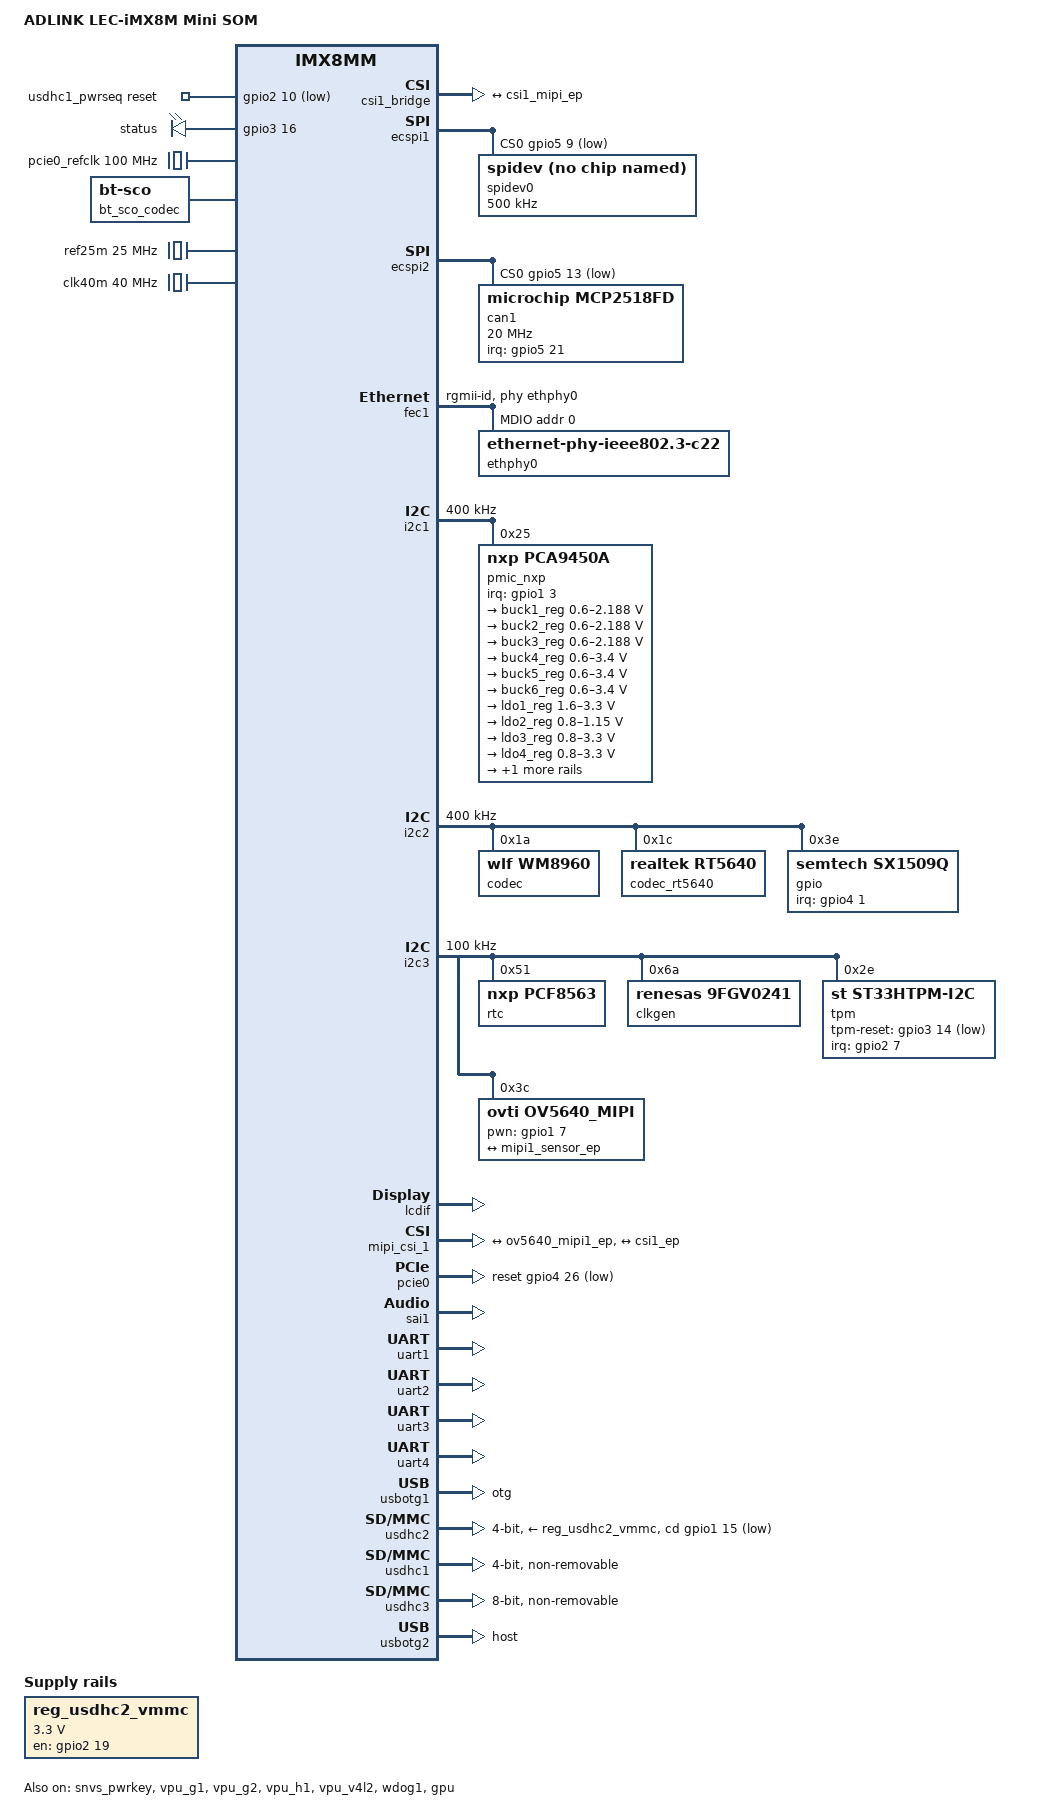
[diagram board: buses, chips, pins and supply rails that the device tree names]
// SPDX-License-Identifier: (GPL-2.0+ OR MIT)
/*
 * Copyright 2019-2020 NXP
 */

/dts-v1/;

#include <dt-bindings/usb/pd.h>
#include "../freescale/imx8mm.dtsi"

/ {
	model = "ADLINK LEC-iMX8M Mini SOM";
	compatible = "fsl,imx8mm-evk", "fsl,imx8mm","adlink,lec-imx8mm";

	usdhc1_pwrseq: usdhc1_pwrseq {
		compatible = "mmc-pwrseq-simple";
		pinctrl-names = "default";
		pinctrl-0 = <&pinctrl_usdhc1_gpio>;
		reset-gpios = <&gpio2 10 GPIO_ACTIVE_LOW>;
	};

	chosen {
		stdout-path = &uart2;
	};

	leds {
		compatible = "gpio-leds";
		pinctrl-names = "default";
		pinctrl-0 = <&pinctrl_gpio_led>;

		status {
			label = "status";
			gpios = <&gpio3 16 GPIO_ACTIVE_HIGH>;
			default-state = "on";
		};
	};

	pcie0_refclk: pcie0-refclk {
		compatible = "fixed-clock";
		#clock-cells = <0>;
		clock-frequency = <100000000>;
	};

	reg_usdhc2_vmmc: regulator-usdhc2 {
		compatible = "regulator-fixed";
		pinctrl-names = "default";
		pinctrl-0 = <&pinctrl_reg_usdhc2_vmmc>;
		regulator-name = "VSD_3V3";
		regulator-min-microvolt = <3300000>;
		regulator-max-microvolt = <3300000>;
		gpio = <&gpio2 19 GPIO_ACTIVE_HIGH>;
		off-on-delay-us = <20000>;
		enable-active-high;
	};

	bt_sco_codec: bt_sco_codec {
		#sound-dai-cells = <1>;
		compatible = "linux,bt-sco";
	};

	sound-bt-sco {
		compatible = "simple-audio-card";
		simple-audio-card,name = "bt-sco-audio";
		simple-audio-card,format = "dsp_a";
		simple-audio-card,bitclock-inversion;
		simple-audio-card,frame-master = <&btcpu>;
		simple-audio-card,bitclock-master = <&btcpu>;

		btcpu: simple-audio-card,cpu {
			sound-dai = <&sai2>;
			dai-tdm-slot-num = <2>;
			dai-tdm-slot-width = <16>;
		};

		simple-audio-card,codec {
			sound-dai = <&bt_sco_codec 1>;
		};
	};

        sound-wm8960 {
            compatible = "fsl,imx7d-evk-wm8960", "fsl,imx-audio-wm8960";
            model = "wm8960-audio";
            cpu-dai = <&sai1>;
            audio-codec = <&codec>;
            //asrc-controller = <&easrc>;
            codec-master;
            /*
             * hp-det = <hp-det-pin hp-det-polarity>;
             * hp-det-pin: JD1 JD2 or JD3
             * hp-det-polarity = 0: hp detect high for headphone
             * hp-det-polarity = 1: hp detect high for speaker
             */
            hp-det = <2 1>;
            audio-routing =
                    "Headphone Jack", "HP_L",
                    "Headphone Jack", "HP_R",
                    "LINPUT1", "Mic Jack",
                    "Mic Jack", "MICB",
                    "Playback", "CPU-Playback",
                    "CPU-Capture", "Capture";
        };
        
         sound-rt5640 {
            compatible = "fsl,imx-audio-rt5640";
            model = "rt5640c";
            cpu-dai = <&sai1>;
            audio-codec = <&codec_rt5640>;
            audio-routing =
		    "Mic Jack", "MICBIAS1",
		    "IN1P", "Mic Jack",
		    "Headphone Jack", "HPOL",
		    "Headphone Jack", "HPOR";
        };       

	/* 25MHz reference crystal */
	ref25m: ref25xtal {
		compatible = "fixed-clock";
		#clock-cells = <0>;
		clock-frequency = <25000000>;
	};

	/* fixed clock dedicated to SPI CAN controller */
	clk40m: oscillator {
		compatible = "fixed-clock";
		#clock-cells = <0>;
		clock-frequency = <40000000>;
	};
};

&A53_0 {
	cpu-supply = <&buck2_reg>;
};

&A53_1 {
	cpu-supply = <&buck2_reg>;
};

&A53_2 {
	cpu-supply = <&buck2_reg>;
};

&A53_3 {
	cpu-supply = <&buck2_reg>;
};

&csi1_bridge {
	fsl,mipi-mode;
	status = "okay";
	port {
		csi1_ep: endpoint {
			remote-endpoint = <&csi1_mipi_ep>;
		};
	};
};

&ecspi1 {
	#address-cells = <1>;
	#size-cells = <0>;
	fsl,spi-num-chipselects = <1>;
	pinctrl-names = "default";
	pinctrl-0 = <&pinctrl_ecspi1 &pinctrl_ecspi1_cs>;
	cs-gpios = <&gpio5 9 GPIO_ACTIVE_LOW>;
	status = "okay";
	
	spidev0: spi@0 {
	    reg = <0>;
	    compatible = "rohm,dh2228fv";
	    spi-max-frequency = <500000>;
	};
};

&ecspi2 {
	#address-cells = <1>;
	#size-cells = <0>;
	fsl,spi-num-chipselects = <1>;
	pinctrl-names = "default";
	pinctrl-0 = <&pinctrl_ecspi2 &pinctrl_ecspi2_cs>;
	cs-gpios = <&gpio5 13 GPIO_ACTIVE_LOW>;
	status = "okay";

	can1: mcp2518fd@0 {
	    compatible = "microchip,mcp2518fd";
	    reg = <0>;
	    clocks = <&clk40m>;
	    pinctrl-names = "default";
	    pinctrl-0 = <&pinctrl_can1_int>;
            spi-max-frequency = <20000000>;
            interrupts-extended = <&gpio5 21 IRQ_TYPE_LEVEL_LOW>;
            vdd-supply = <3300000>;
            xceiver-supply = <3300000>;
	};
};

&fec1 {
	pinctrl-names = "default";
	pinctrl-0 = <&pinctrl_fec1>;
	phy-mode = "rgmii-id";
	phy-handle = <&ethphy0>;
	fsl,magic-packet;
	status = "okay";

	mdio {
		#address-cells = <1>;
		#size-cells = <0>;

		ethphy0: ethernet-phy@0 {
			compatible = "ethernet-phy-ieee802.3-c22";
			reg = <0>;
			//at803x,eee-disabled;
			//at803x,vddio-1p8v;
			/* ethernet phy register value <offset,value> */
			/* can modify it by customize carrier board */
			reg-values = 
				<0x0168 0x8040>,
				<0x488A 0x8030>,
				<0x4009 0x8031>,
				<0x240A 0x8032>,
				<0x002B 0x8034>,
				<0x002B 0x8037>,
				<0x002B 0x803A>,
				<0x002B 0x803D>,
				<0x0006 0x8021>;
		};
	};
};

&i2c1 {
	clock-frequency = <400000>;
	pinctrl-names = "default";
	pinctrl-0 = <&pinctrl_i2c1>;
	status = "okay";

	pmic_nxp: pca9450@25 {
		compatible = "nxp,pca9450a";
		reg = <0x25>;
		pinctrl-0 = <&pinctrl_pmic>;
		pinctrl-names = "default";
		interrupt-parent = <&gpio1>;
		interrupts = <3 IRQ_TYPE_LEVEL_LOW>;

		regulators {
			buck1_reg: BUCK1 {
				regulator-name = "BUCK1";
				regulator-min-microvolt = <600000>;
				regulator-max-microvolt = <2187500>;
				regulator-boot-on;
				regulator-always-on;
				regulator-ramp-delay = <3125>;
				nxp,dvs-run-voltage = <850000>;
				nxp,dvs-standby-voltage = <800000>;
			};

			buck2_reg: BUCK2 {
				regulator-name = "BUCK2";
				regulator-min-microvolt = <600000>;
				regulator-max-microvolt = <2187500>;
				regulator-boot-on;
				regulator-always-on;
				regulator-ramp-delay = <3125>;
			};

			buck3_reg: BUCK3 {
				regulator-name = "BUCK3";
				regulator-min-microvolt = <600000>;
				regulator-max-microvolt = <2187500>;
				regulator-boot-on;
				regulator-always-on;
			};

			buck4_reg: BUCK4 {
				regulator-name = "BUCK4";
				regulator-min-microvolt = <600000>;
				regulator-max-microvolt = <3400000>;
				regulator-boot-on;
				regulator-always-on;
			};

			buck5_reg: BUCK5 {
				regulator-name = "BUCK5";
				regulator-min-microvolt = <600000>;
				regulator-max-microvolt = <3400000>;
				regulator-boot-on;
				regulator-always-on;
			};

			buck6_reg: BUCK6 {
				regulator-name = "BUCK6";
				regulator-min-microvolt = <600000>;
				regulator-max-microvolt = <3400000>;
				regulator-boot-on;
				regulator-always-on;
			};

			ldo1_reg: LDO1 {
				regulator-name = "LDO1";
				regulator-min-microvolt = <1600000>;
				regulator-max-microvolt = <3300000>;
				regulator-boot-on;
				regulator-always-on;
			};

			ldo2_reg: LDO2 {
				regulator-name = "LDO2";
				regulator-min-microvolt = <800000>;
				regulator-max-microvolt = <1150000>;
				regulator-boot-on;
				regulator-always-on;
			};

			ldo3_reg: LDO3 {
				regulator-name = "LDO3";
				regulator-min-microvolt = <800000>;
				regulator-max-microvolt = <3300000>;
				regulator-boot-on;
				regulator-always-on;
			};

			ldo4_reg: LDO4 {
				regulator-name = "LDO4";
				regulator-min-microvolt = <800000>;
				regulator-max-microvolt = <3300000>;
				regulator-boot-on;
				regulator-always-on;
			};

			ldo5_reg: LDO5 {
				regulator-name = "LDO5";
				regulator-min-microvolt = <1800000>;
				regulator-max-microvolt = <3300000>;
			};
		};
	};
};

&i2c2 {
	clock-frequency = <400000>;
	pinctrl-names = "default";
	pinctrl-0 = <&pinctrl_i2c2>;
	status = "okay";
		
    codec: wm8960@1a {
        compatible = "wlf,wm8960";
        reg = <0x1a>;
        clocks = <&clk IMX8MM_CLK_SAI1_ROOT>;
        clock-names = "mclk";
        wlf,shared-lrclk;
    status = "okay";
    };
    
 	codec_rt5640: rt5640@1c {
		#sound-dai-cells = <0>;
		compatible = "realtek,rt5640";
		reg = <0x1c>;
		clocks = <&clk IMX8MM_CLK_SAI1_ROOT>;
		clock-names = "mclk";
		status = "okay";
	};   
	
	/* SX1509(2) U1001@IPi SMARC Plus */
	gpio: i2c2_gpioext0@3e {
		/* GPIO Expander 2 Mapping :
		 * - 0: E_GPIO1_0	<=>					IPi SMARC Plus CN101_PIN29: E_GPIO1_0
		 * - 1: E_GPIO1_1	<=>					IPi SMARC Plus CN101_PIN31: E_GPIO1_1
		 * - 2: E_GPIO1_2	<=>					IPi SMARC Plus CN101_PIN32: E_GPIO1_2
		 * - 3: E_GPIO1_3	<=>					IPi SMARC Plus CN101_PIN33: E_GPIO1_3
		 * - 4: E_GPIO1_4	<=>					IPi SMARC Plus CN101_PIN35: E_GPIO1_4
		 * - 5: E_GPIO1_5	<=>					IPi SMARC Plus CN101_PIN36: E_GPIO1_5
		 * - 6: E_GPIO1_6	<=>					IPi SMARC Plus CN101_PIN37: E_GPIO1_6
		 * - 7: E_GPIO1_7	<=>					IPi SMARC Plus CN101_PIN38: E_GPIO1_7
		 * - 8: E_GPIO2_8	<=>					IPi SMARC Plus CN101_PIN40: E_GPIO2_8
		 * - 9: TP1002		<=>					IPi SMARC Plus TP1002 (won't use)
		 * - 10: TP1003		<=>					IPi SMARC Plus TP1003 (won't use)
		 * - 11: TP1004		<=>					IPi SMARC Plus TP1004 (won't use)
		 * - 12: TP1005		<=>					IPi SMARC Plus TP1005 (won't use)
		 * - 13: TP1006		<=>					IPi SMARC Plus TP1006 (won't use)
		 * - 14: TP1007		<=>					IPi SMARC Plus TP1007 (won't use)
		 * - 15: TP1008		<=>					IPi SMARC Plus TP1008 (won't use)
		 * - 16: OSCIO		<=>					IPi SMARC Plus TP1001 (won't use)
		 */
		#gpio-cells = <2>;
		#interrupt-cells = <2>;
		compatible = "semtech,sx1509q";
        pinctrl-names = "default";
        pinctrl-0 = <&pinctrl_gpio_exp>;
		reg = <0x3e>;

		semtech,probe-reset;
		gpio-controller;
		interrupt-controller;

		interrupt-parent = <&gpio4>;
		interrupts = <1 IRQ_TYPE_EDGE_FALLING>;
	};
};

&i2c3 {
	clock-frequency = <100000>;
	pinctrl-names = "default";
	pinctrl-0 = <&pinctrl_i2c3>;
	status = "okay";

	/* RTC: PCF8563BS */
	rtc: pcf8563bs@51 {
		reg = <0x51>;
		compatible = "nxp,pcf8563";
	};

	/* PCIe ClockGen: 9FGV0241AKILF_RENESAS */
	clkgen: 9fgv0241@6a {
		reg = <0x6a>;
		compatible = "renesas,9fgv0241";

		#clock-cells = <1>;
		clocks = <&ref25m>;

		DIF0 {
			renesas,slew-rate = <3000000>;
		};
	};


    /* TPM: ST33HTPH2X32AHD5 */
    tpm: st33htph77@2e {
        reg = <0x2e>;
        compatible = "st,st33htpm-i2c";
        pinctrl-names = "default";
        pinctrl-0 = <&pinctrl_tpm>;
        /* MX8MM_IOMUXC_SD1_DATA5_GPIO2_IO7 (TPM_INT_N) */
        interrupt-parent = <&gpio2>;
        interrupts = <7 IRQ_TYPE_EDGE_FALLING>;
        /* MX8MM_IOMUXC_NAND_DQS_GPIO3_IO14 (TPM_RST#) */
        tpm-reset = <&gpio3 14 GPIO_ACTIVE_LOW>;
        reset-assert-us = <10000>;
    };

	ov5640_mipi: ov5640_mipi@3c {
		compatible = "ovti,ov5640_mipi";
		reg = <0x3c>;
		status = "okay";
		pinctrl-names = "default";
		pinctrl-0 = <&pinctrl_csi_pwn>, <&pinctrl_csi_rst>;
		clocks = <&clk IMX8MM_CLK_CLKO1>;
		clock-names = "csi_mclk";
		assigned-clocks = <&clk IMX8MM_CLK_CLKO1>;
		assigned-clock-parents = <&clk IMX8MM_CLK_24M>;
		assigned-clock-rates = <24000000>;
		csi_id = <0>;
		pwn-gpios = <&gpio1 7 GPIO_ACTIVE_HIGH>;
		mclk = <24000000>;
		mclk_source = <0>;
		port {
			ov5640_mipi1_ep: endpoint {
				remote-endpoint = <&mipi1_sensor_ep>;
			};
		};
	};
};

&lcdif {
       status = "okay";
};

&mipi_csi_1 {
	#address-cells = <1>;
	#size-cells = <0>;
	status = "okay";
	port {
		mipi1_sensor_ep: endpoint@1 {
			remote-endpoint = <&ov5640_mipi1_ep>;
			data-lanes = <2>;
			csis-hs-settle = <13>;
			csis-clk-settle = <2>;
			csis-wclk;
		};

		csi1_mipi_ep: endpoint@2 {
			remote-endpoint = <&csi1_ep>;
		};
	};
};


&pcie0{
	pinctrl-names = "default";
	pinctrl-0 = <&pinctrl_pcie0>;
	disable-gpio = <&gpio1 5 GPIO_ACTIVE_LOW>;
    /* MX8MM_IOMUXC_SAI2_TXD0_GPIO4_IO26(PCIe_RST#) */
	reset-gpio = <&gpio4 26 GPIO_ACTIVE_LOW>;
	clkreq-gpio = <&gpio5 20 GPIO_ACTIVE_LOW>;
	clocks = <&clk IMX8MM_CLK_PCIE1_ROOT>,
		 <&clk IMX8MM_CLK_PCIE1_AUX>,
		 <&clk IMX8MM_CLK_PCIE1_PHY>,
		 <&pcie0_refclk>;
	clock-names = "pcie", "pcie_aux", "pcie_phy", "pcie_bus";
	assigned-clocks = <&clk IMX8MM_CLK_PCIE1_AUX>,
			  <&clk IMX8MM_CLK_PCIE1_PHY>,
			  <&clk IMX8MM_CLK_PCIE1_CTRL>;
	assigned-clock-rates = <10000000>, <100000000>, <250000000>;
	assigned-clock-parents = <&clk IMX8MM_SYS_PLL2_50M>,
				 <&clk IMX8MM_SYS_PLL2_100M>,
				 <&clk IMX8MM_SYS_PLL2_250M>;
	ext_osc = <1>;

	status = "okay";
};

&pcie0_ep{
	pinctrl-names = "default";
	pinctrl-0 = <&pinctrl_pcie0>;
	clocks = <&clk IMX8MM_CLK_PCIE1_ROOT>,
		 <&clk IMX8MM_CLK_PCIE1_AUX>,
		 <&clk IMX8MM_CLK_PCIE1_PHY>,
		 <&pcie0_refclk>;
	clock-names = "pcie", "pcie_aux", "pcie_phy", "pcie_bus";
	assigned-clocks = <&clk IMX8MM_CLK_PCIE1_AUX>,
			  <&clk IMX8MM_CLK_PCIE1_PHY>,
			  <&clk IMX8MM_CLK_PCIE1_CTRL>;
	assigned-clock-rates = <10000000>, <100000000>, <250000000>;
	assigned-clock-parents = <&clk IMX8MM_SYS_PLL2_50M>,
				 <&clk IMX8MM_SYS_PLL2_100M>,
				 <&clk IMX8MM_SYS_PLL2_250M>;
	ext_osc = <1>;
	l1ss-disabled;
	status = "disabled";
};

&sai2 {
	status = "disabled";
};

&sai1 {
	pinctrl-names = "default", "dsd";
	pinctrl-0 = <&pinctrl_sai1>;
	//pinctrl-1 = <&pinctrl_sai1_dsd>;
	assigned-clocks = <&clk IMX8MM_CLK_SAI1>;
	assigned-clock-parents = <&clk IMX8MM_AUDIO_PLL1_OUT>;
	assigned-clock-rates = <49152000>;
	clocks = <&clk IMX8MM_CLK_SAI1_IPG>, <&clk IMX8MM_CLK_DUMMY>,
		<&clk IMX8MM_CLK_SAI1_ROOT>, <&clk IMX8MM_CLK_DUMMY>,
		<&clk IMX8MM_CLK_DUMMY>, <&clk IMX8MM_AUDIO_PLL1_OUT>,
		<&clk IMX8MM_AUDIO_PLL2_OUT>;
	clock-names = "bus", "mclk0", "mclk1", "mclk2", "mclk3", "pll8k", "pll11k";
	fsl,sai-multi-lane;
	fsl,dataline,dsd = <0 0xff 0xff 2 0xff 0x11>;
	dmas = <&sdma2 0 25 0>, <&sdma2 1 25 0>;
	status = "okay";
};

&sai3 {
	status = "disabled";
};

&sai5 {
	status = "disabled";
};

&sai6 {
	status = "disabled";
};

&snvs_pwrkey {
	status = "okay";
};

&uart1 { /* BT */
	pinctrl-names = "default";
	pinctrl-0 = <&pinctrl_uart1>;
	assigned-clocks = <&clk IMX8MM_CLK_UART1>;
	assigned-clock-parents = <&clk IMX8MM_SYS_PLL1_80M>;
	fsl,uart-has-rtscts;
	status = "okay";
};

&uart2 { /* console */
	pinctrl-names = "default";
	pinctrl-0 = <&pinctrl_uart2>;
	status = "okay";
};

&uart3 {
	pinctrl-names = "default";
	pinctrl-0 = <&pinctrl_uart3>;
	assigned-clocks = <&clk IMX8MM_CLK_UART3>;
	assigned-clock-parents = <&clk IMX8MM_SYS_PLL1_80M>;
	fsl,uart-has-rtscts;
	status = "okay";
};

&uart4 {
	pinctrl-names = "default";
	pinctrl-0 = <&pinctrl_uart4>;
	assigned-clocks = <&clk IMX8MM_CLK_UART4>;
	assigned-clock-parents = <&clk IMX8MM_CLK_24M>;
	status = "okay";
};

&usbotg1 {
	dr_mode = "otg";
	status = "okay";
};

&usdhc2 {
	assigned-clocks = <&clk IMX8MM_CLK_USDHC2>;
	assigned-clock-rates = <200000000>;
	pinctrl-names = "default", "state_100mhz", "state_200mhz";
	pinctrl-0 = <&pinctrl_usdhc2>, <&pinctrl_usdhc2_gpio>;
	pinctrl-1 = <&pinctrl_usdhc2_100mhz>, <&pinctrl_usdhc2_gpio>;
	pinctrl-2 = <&pinctrl_usdhc2_200mhz>, <&pinctrl_usdhc2_gpio>;
	cd-gpios = <&gpio1 15 GPIO_ACTIVE_LOW>;
	bus-width = <4>;
	vmmc-supply = <&reg_usdhc2_vmmc>;
	status = "okay";
};

&vpu_g1 {
	status = "okay";
};

&vpu_g2 {
	status = "okay";
};

&vpu_h1 {
	status = "okay";
};

&vpu_v4l2 {
	status = "okay";
};

&wdog1 {
	pinctrl-names = "default";
	pinctrl-0 = <&pinctrl_wdog>;
	fsl,ext-reset-output;
	status = "okay";
};

&gpu {
	status = "okay";
};



&iomuxc {
	
	pinctrl_csi_pwn: csi_pwn_grp {
		fsl,pins = <
			MX8MM_IOMUXC_GPIO1_IO07_GPIO1_IO7		0x19
		>;
	};

	pinctrl_csi_rst: csi_rst_grp {
		fsl,pins = <
			MX8MM_IOMUXC_GPIO1_IO06_GPIO1_IO6		0x19
			MX8MM_IOMUXC_GPIO1_IO14_CCMSRCGPCMIX_CLKO1	0x59
		>;
	};

	/* adlink add */
	pinctrl_ecspi1: ecspi1grp {   
	    fsl,pins = <
	        MX8MM_IOMUXC_ECSPI1_MISO_ECSPI1_MISO       0x82
	        MX8MM_IOMUXC_ECSPI1_MOSI_ECSPI1_MOSI       0x82
	        MX8MM_IOMUXC_ECSPI1_SCLK_ECSPI1_SCLK       0x82
	    >;
	};

	pinctrl_ecspi1_cs: ecspi1cs {
		fsl,pins = <
			MX8MM_IOMUXC_ECSPI1_SS0_GPIO5_IO9		0x40000
		>;
	};

	pinctrl_ecspi2: ecspi2grp {
		fsl,pins = <
			MX8MM_IOMUXC_ECSPI2_SCLK_ECSPI2_SCLK		0x82
			MX8MM_IOMUXC_ECSPI2_MOSI_ECSPI2_MOSI		0x82
			MX8MM_IOMUXC_ECSPI2_MISO_ECSPI2_MISO		0x82
		>;
	};

	pinctrl_ecspi2_cs: ecspi2cs {
		fsl,pins = <
			MX8MM_IOMUXC_ECSPI2_SS0_GPIO5_IO13		0x40000
		>;
	};

	pinctrl_can1_int: can1intgrp {
		fsl,pins = <
			MX8MM_IOMUXC_I2C4_SDA_GPIO5_IO21		0x1c4
			MX8MM_IOMUXC_UART2_TXD_GPIO5_IO25		0x1c4
		>;
	};

    pinctrl_tpm: tpmgrp {
	    fsl,pins = <
            MX8MM_IOMUXC_NAND_DQS_GPIO3_IO14           0x156
            MX8MM_IOMUXC_SD1_DATA5_GPIO2_IO7           0x156
		>;
	};

    pinctrl_gpio_exp: gpioexpgrp {
	    fsl,pins = <
			MX8MM_IOMUXC_SAI3_RXFS_GPIO4_IO28		0x156
		>;
	};

	pinctrl_fec1: fec1grp {
		fsl,pins = <
			MX8MM_IOMUXC_ENET_MDC_ENET1_MDC			0x3
			MX8MM_IOMUXC_ENET_MDIO_ENET1_MDIO		0x3
			MX8MM_IOMUXC_ENET_TD3_ENET1_RGMII_TD3		0x1f
			MX8MM_IOMUXC_ENET_TD2_ENET1_RGMII_TD2		0x1f
			MX8MM_IOMUXC_ENET_TD1_ENET1_RGMII_TD1		0x1f
			MX8MM_IOMUXC_ENET_TD0_ENET1_RGMII_TD0		0x1f
			MX8MM_IOMUXC_ENET_RD3_ENET1_RGMII_RD3		0x91
			MX8MM_IOMUXC_ENET_RD2_ENET1_RGMII_RD2		0x91
			MX8MM_IOMUXC_ENET_RD1_ENET1_RGMII_RD1		0x91
			MX8MM_IOMUXC_ENET_RD0_ENET1_RGMII_RD0		0x91
			MX8MM_IOMUXC_ENET_TXC_ENET1_RGMII_TXC		0x1f
			MX8MM_IOMUXC_ENET_RXC_ENET1_RGMII_RXC		0x91
			MX8MM_IOMUXC_ENET_RX_CTL_ENET1_RGMII_RX_CTL	0x91
			MX8MM_IOMUXC_ENET_TX_CTL_ENET1_RGMII_TX_CTL	0x1f
			MX8MM_IOMUXC_GPIO1_IO10_GPIO1_IO10		0x19
		>;
	};

	pinctrl_gpio_led: gpioledgrp {
		fsl,pins = <
			MX8MM_IOMUXC_NAND_READY_B_GPIO3_IO16	0x19
		>;
	};

	pinctrl_i2c1: i2c1grp {
		fsl,pins = <
			MX8MM_IOMUXC_I2C1_SCL_I2C1_SCL			0x400001c3
			MX8MM_IOMUXC_I2C1_SDA_I2C1_SDA			0x400001c3
		>;
	};

	pinctrl_i2c2: i2c2grp {
		fsl,pins = <
			MX8MM_IOMUXC_I2C2_SCL_I2C2_SCL			0x400001c3
			MX8MM_IOMUXC_I2C2_SDA_I2C2_SDA			0x400001c3
		>;
	};

	pinctrl_i2c3: i2c3grp {
		fsl,pins = <
			MX8MM_IOMUXC_I2C3_SCL_I2C3_SCL			0x400001c3
			MX8MM_IOMUXC_I2C3_SDA_I2C3_SDA			0x400001c3
		>;
	};

	pinctrl_mipi_dsi_en: mipi_dsi_en {
		fsl,pins = <
			MX8MM_IOMUXC_GPIO1_IO08_GPIO1_IO8		0x16
		>;
	};

	pinctrl_pcie0: pcie0grp {
		fsl,pins = <
			MX8MM_IOMUXC_I2C4_SCL_GPIO5_IO20	0x16 /* open drain, pull up */
			MX8MM_IOMUXC_GPIO1_IO05_GPIO1_IO5	0x41
			MX8MM_IOMUXC_SAI2_TXD0_GPIO4_IO26	0x41
		>;
	};
	
	pinctrl_pmic: pmicirqgrp {
		fsl,pins = <
			MX8MM_IOMUXC_GPIO1_IO03_GPIO1_IO3		0x141
		>;
	};

	pinctrl_reg_usdhc2_vmmc: regusdhc2vmmcgrp {
		fsl,pins = <
			MX8MM_IOMUXC_SD2_RESET_B_GPIO2_IO19	0x41
		>;
	};

	pinctrl_sai1: sai1grp {
		fsl,pins = <
			MX8MM_IOMUXC_SAI1_MCLK_SAI1_MCLK	0xd6			
			MX8MM_IOMUXC_SAI1_TXFS_SAI1_TX_SYNC	0xd6
			MX8MM_IOMUXC_SAI1_RXD0_SAI1_RX_DATA0	0xd6
			MX8MM_IOMUXC_SAI1_TXC_SAI1_TX_BCLK	0xd6
			MX8MM_IOMUXC_SAI1_TXD0_SAI1_TX_DATA0	0xd6		
		>;
	};

	pinctrl_sai1_dsd: sai1grp_dsd {
		fsl,pins = <
			MX8MM_IOMUXC_SAI1_MCLK_SAI1_MCLK	0xd6			
			MX8MM_IOMUXC_SAI1_TXFS_SAI1_TX_SYNC	0xd6
			MX8MM_IOMUXC_SAI1_RXD0_SAI1_RX_DATA0	0xd6
			MX8MM_IOMUXC_SAI1_TXC_SAI1_TX_BCLK	0xd6
			MX8MM_IOMUXC_SAI1_TXD0_SAI1_TX_DATA0	0xd6
		>;
	};

	pinctrl_sai5: sai5grp {
		fsl,pins = <
            MX8MM_IOMUXC_SAI5_MCLK_SAI5_MCLK           0x00000116
            MX8MM_IOMUXC_SAI5_RXD1_SAI5_TX_SYNC        0x00001916
            MX8MM_IOMUXC_SAI5_RXD2_SAI5_TX_BCLK        0x00000116
            MX8MM_IOMUXC_SAI5_RXD3_SAI5_TX_DATA0       0x00000116
		>;
	};	

	pinctrl_uart1: uart1grp {
		fsl,pins = <
			MX8MM_IOMUXC_SAI2_RXC_UART1_DCE_RX      0x140
			MX8MM_IOMUXC_SAI2_RXFS_UART1_DCE_TX     0x140
		>;
	};

	pinctrl_uart2: uart2grp {
		fsl,pins = <
			MX8MM_IOMUXC_SAI3_TXFS_UART2_DCE_RX     0X140
			MX8MM_IOMUXC_SAI3_TXC_UART2_DCE_TX      0x140
		>;
	};

	pinctrl_uart3: uart3grp {
		fsl,pins = <
			MX8MM_IOMUXC_UART3_RXD_UART3_DCE_RX     0x140
			MX8MM_IOMUXC_UART3_TXD_UART3_DCE_TX     0x140			
		>;
	};

	pinctrl_uart4: uart4grp {         
	    fsl,pins = <
	        MX8MM_IOMUXC_UART4_RXD_UART4_DCE_RX     0x140
	        MX8MM_IOMUXC_UART4_TXD_UART4_DCE_TX     0x140
	    >;
	};

	pinctrl_usdhc1_gpio: usdhc1grpgpio {
		fsl,pins = <
			MX8MM_IOMUXC_SD1_DATA7_GPIO2_IO9		0x159    //LS_EN
			MX8MM_IOMUXC_SD1_DATA6_GPIO2_IO8		0x116	//PCIE_WAKE
		>;
	};

	pinctrl_usdhc1: usdhc1grp {
		fsl,pins = <
			MX8MM_IOMUXC_SD1_CLK_USDHC1_CLK		0x190
			MX8MM_IOMUXC_SD1_CMD_USDHC1_CMD		0x1d0
			MX8MM_IOMUXC_SD1_DATA0_USDHC1_DATA0	0x1d0
			MX8MM_IOMUXC_SD1_DATA1_USDHC1_DATA1	0x1d0
			MX8MM_IOMUXC_SD1_DATA2_USDHC1_DATA2	0x1d0
			MX8MM_IOMUXC_SD1_DATA3_USDHC1_DATA3	0x1d0
		>;
	};

	pinctrl_usdhc1_100mhz: usdhc1grp100mhz {
		fsl,pins = <
			MX8MM_IOMUXC_SD1_CLK_USDHC1_CLK		0x194
			MX8MM_IOMUXC_SD1_CMD_USDHC1_CMD		0x1d4
			MX8MM_IOMUXC_SD1_DATA0_USDHC1_DATA0	0x1d4
			MX8MM_IOMUXC_SD1_DATA1_USDHC1_DATA1	0x1d4
			MX8MM_IOMUXC_SD1_DATA2_USDHC1_DATA2	0x1d4
			MX8MM_IOMUXC_SD1_DATA3_USDHC1_DATA3	0x1d4
		>;
	};

	pinctrl_usdhc1_200mhz: usdhc1grp200mhz {
		fsl,pins = <
			MX8MM_IOMUXC_SD1_CLK_USDHC1_CLK		0x196
			MX8MM_IOMUXC_SD1_CMD_USDHC1_CMD		0x1d6
			MX8MM_IOMUXC_SD1_DATA0_USDHC1_DATA0	0x1d6
			MX8MM_IOMUXC_SD1_DATA1_USDHC1_DATA1	0x1d6
			MX8MM_IOMUXC_SD1_DATA2_USDHC1_DATA2	0x1d6
			MX8MM_IOMUXC_SD1_DATA3_USDHC1_DATA3	0x1d6
		>;
	};

	pinctrl_usdhc2_gpio: usdhc2grpgpiogrp {
		fsl,pins = <
			MX8MM_IOMUXC_GPIO1_IO15_GPIO1_IO15	0x1c4
		>;
	};

	pinctrl_usdhc2: usdhc2grp {
		fsl,pins = <
			MX8MM_IOMUXC_SD2_CLK_USDHC2_CLK		0x190
			MX8MM_IOMUXC_SD2_CMD_USDHC2_CMD		0x1d0
			MX8MM_IOMUXC_SD2_DATA0_USDHC2_DATA0	0x1d0
			MX8MM_IOMUXC_SD2_DATA1_USDHC2_DATA1	0x1d0
			MX8MM_IOMUXC_SD2_DATA2_USDHC2_DATA2	0x1d0
			MX8MM_IOMUXC_SD2_DATA3_USDHC2_DATA3	0x1d0
			MX8MM_IOMUXC_GPIO1_IO04_USDHC2_VSELECT	0x1d0
		>;
	};

	pinctrl_usdhc2_100mhz: usdhc2-100mhzgrp {
		fsl,pins = <
			MX8MM_IOMUXC_SD2_CLK_USDHC2_CLK		0x194
			MX8MM_IOMUXC_SD2_CMD_USDHC2_CMD		0x1d4
			MX8MM_IOMUXC_SD2_DATA0_USDHC2_DATA0	0x1d4
			MX8MM_IOMUXC_SD2_DATA1_USDHC2_DATA1	0x1d4
			MX8MM_IOMUXC_SD2_DATA2_USDHC2_DATA2	0x1d4
			MX8MM_IOMUXC_SD2_DATA3_USDHC2_DATA3	0x1d4
			MX8MM_IOMUXC_GPIO1_IO04_USDHC2_VSELECT	0x1d0
		>;
	};

	pinctrl_usdhc2_200mhz: usdhc2-200mhzgrp {
		fsl,pins = <
			MX8MM_IOMUXC_SD2_CLK_USDHC2_CLK		0x196
			MX8MM_IOMUXC_SD2_CMD_USDHC2_CMD		0x1d6
			MX8MM_IOMUXC_SD2_DATA0_USDHC2_DATA0	0x1d6
			MX8MM_IOMUXC_SD2_DATA1_USDHC2_DATA1	0x1d6
			MX8MM_IOMUXC_SD2_DATA2_USDHC2_DATA2	0x1d6
			MX8MM_IOMUXC_SD2_DATA3_USDHC2_DATA3	0x1d6
			MX8MM_IOMUXC_GPIO1_IO04_USDHC2_VSELECT	0x1d0
		>;
	};

	pinctrl_wdog: wdoggrp {
		fsl,pins = <
			MX8MM_IOMUXC_GPIO1_IO02_WDOG1_WDOG_B	0xc6
		>;
	};
};  
  

&usdhc1 {
	pinctrl-names = "default", "state_100mhz", "state_200mhz";
	pinctrl-0 = <&pinctrl_usdhc1>, <&pinctrl_wlan>;
	pinctrl-1 = <&pinctrl_usdhc1_100mhz>, <&pinctrl_wlan>;
	pinctrl-2 = <&pinctrl_usdhc1_200mhz>, <&pinctrl_wlan>;
	bus-width = <4>;
	keep-power-in-suspend;
	non-removable;
	wakeup-source;
	mmc-pwrseq = <&usdhc1_pwrseq>;
	fsl,sdio-interrupt-enabled;
	status = "okay";
};

&usdhc3 {
	assigned-clocks = <&clk IMX8MM_CLK_USDHC3_ROOT>;
	assigned-clock-rates = <400000000>;
	pinctrl-names = "default", "state_100mhz", "state_200mhz";
	pinctrl-0 = <&pinctrl_usdhc3>;
	pinctrl-1 = <&pinctrl_usdhc3_100mhz>;
	pinctrl-2 = <&pinctrl_usdhc3_200mhz>;
	bus-width = <8>;
	non-removable;
	status = "okay";
};

&iomuxc {
	pinctrl_usdhc3: usdhc3grp {
		fsl,pins = <
			MX8MM_IOMUXC_NAND_WE_B_USDHC3_CLK               0x190
			MX8MM_IOMUXC_NAND_WP_B_USDHC3_CMD               0x1d0
			MX8MM_IOMUXC_NAND_DATA04_USDHC3_DATA0           0x1d0
			MX8MM_IOMUXC_NAND_DATA05_USDHC3_DATA1           0x1d0
			MX8MM_IOMUXC_NAND_DATA06_USDHC3_DATA2           0x1d0
			MX8MM_IOMUXC_NAND_DATA06_USDHC3_DATA2           0x1d0
			MX8MM_IOMUXC_NAND_DATA07_USDHC3_DATA3           0x1d0
			MX8MM_IOMUXC_NAND_RE_B_USDHC3_DATA4             0x1d0
			MX8MM_IOMUXC_NAND_CE2_B_USDHC3_DATA5            0x1d0
			MX8MM_IOMUXC_NAND_CE3_B_USDHC3_DATA6            0x1d0
			MX8MM_IOMUXC_NAND_CLE_USDHC3_DATA7              0x1d0
			MX8MM_IOMUXC_NAND_CE1_B_USDHC3_STROBE           0x190
		>;
	};

	pinctrl_usdhc3_100mhz: usdhc3-100mhzgrp {
		fsl,pins = <
			MX8MM_IOMUXC_NAND_WE_B_USDHC3_CLK               0x194
			MX8MM_IOMUXC_NAND_WP_B_USDHC3_CMD               0x1d4
			MX8MM_IOMUXC_NAND_DATA04_USDHC3_DATA0           0x1d4
			MX8MM_IOMUXC_NAND_DATA05_USDHC3_DATA1           0x1d4
			MX8MM_IOMUXC_NAND_DATA06_USDHC3_DATA2           0x1d4
			MX8MM_IOMUXC_NAND_DATA07_USDHC3_DATA3           0x1d4
			MX8MM_IOMUXC_NAND_RE_B_USDHC3_DATA4             0x1d4
			MX8MM_IOMUXC_NAND_CE2_B_USDHC3_DATA5            0x1d4
			MX8MM_IOMUXC_NAND_CE3_B_USDHC3_DATA6            0x1d4
			MX8MM_IOMUXC_NAND_CLE_USDHC3_DATA7              0x1d4
			MX8MM_IOMUXC_NAND_CE1_B_USDHC3_STROBE           0x194
		>;
	};

	pinctrl_usdhc3_200mhz: usdhc3-200mhzgrp {
		fsl,pins = <
			MX8MM_IOMUXC_NAND_WE_B_USDHC3_CLK               0x196
			MX8MM_IOMUXC_NAND_WP_B_USDHC3_CMD               0x1d6
			MX8MM_IOMUXC_NAND_DATA04_USDHC3_DATA0           0x1d6
			MX8MM_IOMUXC_NAND_DATA05_USDHC3_DATA1           0x1d6
			MX8MM_IOMUXC_NAND_DATA06_USDHC3_DATA2           0x1d6
			MX8MM_IOMUXC_NAND_DATA07_USDHC3_DATA3           0x1d6
			MX8MM_IOMUXC_NAND_RE_B_USDHC3_DATA4             0x1d6
			MX8MM_IOMUXC_NAND_CE2_B_USDHC3_DATA5            0x1d6
			MX8MM_IOMUXC_NAND_CE3_B_USDHC3_DATA6            0x1d6
			MX8MM_IOMUXC_NAND_CLE_USDHC3_DATA7              0x1d6
			MX8MM_IOMUXC_NAND_CE1_B_USDHC3_STROBE           0x196
		>;
	};

	pinctrl_wlan: wlangrp {
		fsl,pins = <
			MX8MM_IOMUXC_GPIO1_IO00_ANAMIX_REF_CLK_32K	0x141
			MX8MM_IOMUXC_SD1_RESET_B_GPIO2_IO10		0x159    //WLAN REG ON/OFF
		>;
	};
	/delete-node/ ir-receiver;
	
};

&sai6 {
	status = "disabled";
};

&usbotg2 {
	dr_mode = "host";
	status = "okay";
};


